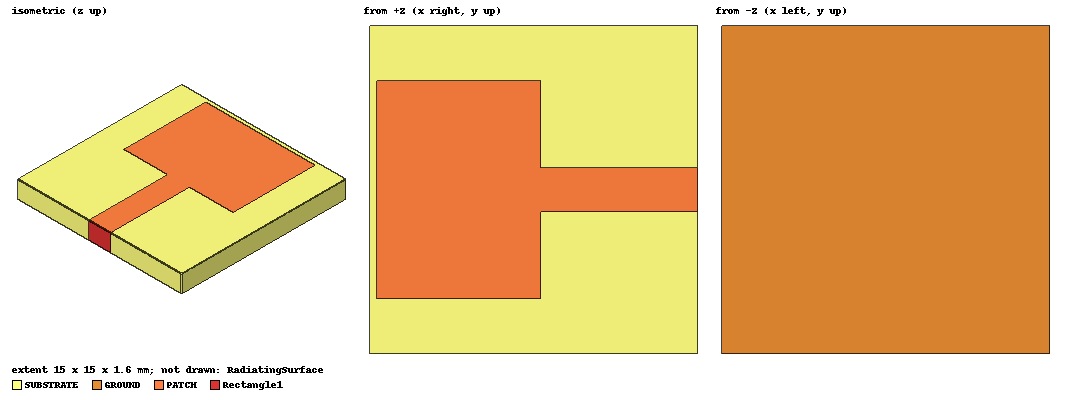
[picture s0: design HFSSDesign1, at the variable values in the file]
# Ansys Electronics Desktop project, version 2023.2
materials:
  vacuum: permittivity=1
  FR4_epoxy: permittivity=4.4 dielectric_loss_tangent=0.02

design HFSSDesign1 (HFSS, HFSS Terminal Network, model units mm)
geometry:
  SUBSTRATE [FR4_epoxy] = box(corner=((-15/2) mm, (-15/2) mm, 0mm), size=(15mm, 15mm, 1.6mm))
  PATCH = rectangle(corner=(-7.2mm, -5mm, 1.6mm), x_size=7.5mm, y_size=10mm)
  FEEDLINE = rectangle(corner=(7.5mm, -1mm, 1.6mm), x_size=-7.2mm, y_size=2mm)
  PATCH.unite(FEEDLINE)
  Rectangle1 = rectangle(corner=(7.5mm, -1mm, 1.6mm), y_size=2mm, z_size=-1.6mm)
  GROUND = rectangle(corner=(7.5mm, -7.5mm, 0mm), x_size=-15mm, y_size=15mm)
  RadiatingSurface [vacuum] = region(absolute_offset=41.666667mm on all sides)
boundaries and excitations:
  PerfE1: Perfect E Objects=[GROUND, PATCH]
  Open1: Radiation Objects=RadiatingSurface
  1: Lumped Port Objects=Rectangle1 LumpedPortType=Modal Modes{Mode1{IntLine{(7.5, 0, 0) -> (7.5, 0, 1.6)} CharImp=Zpi}} Impedance=50ohm
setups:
  Setup1: HfssDriven Frequency=2.4GHz MaxDeltaS=0.02 MaximumPasses=10 MinimumPasses=1 MinimumConvergedPasses=1 PercentRefinement=30 BasisOrder=1 PortAccuracy=2 DrivenSolverType="Direct Solver"
    sweep Sweep: 4GHz to 15GHz, 40 points; Type=Discrete SaveFields SaveRadFields
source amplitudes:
  1:1: 1V 0deg
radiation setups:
  3D: Infinite Sphere Theta=0deg..180deg step 2deg Phi=-180deg..180deg step 2deg
  Elevation: Infinite Sphere Theta=-180deg..180deg step 1deg Phi=0deg..90deg step 90deg
  Azimuth: Infinite Sphere Theta=90deg..90deg step 0deg Phi=-180deg..180deg step 1deg
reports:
  Terminal S Parameter Plot 1: dB(St(1,1)) vs Freq on Setup1 : Sweep
  Terminal S Parameter Plot 2: dB(St(1,1)) vs Freq on Setup1 : Sweep
